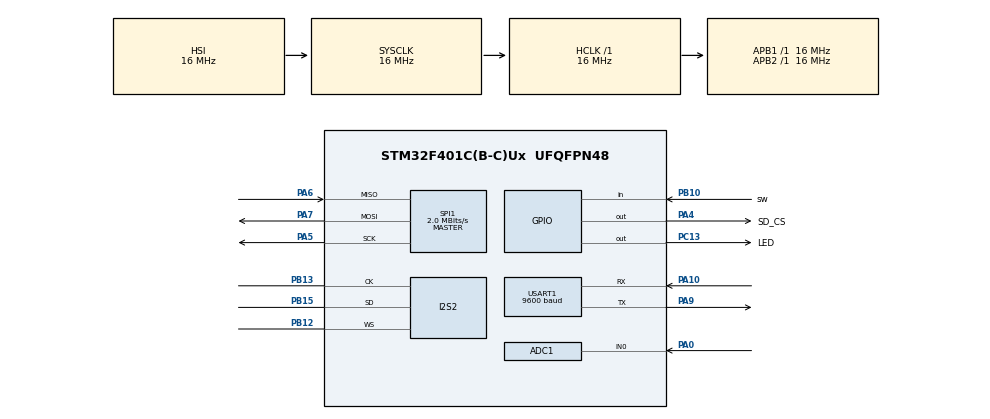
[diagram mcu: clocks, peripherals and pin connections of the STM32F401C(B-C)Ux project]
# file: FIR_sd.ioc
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ADC1.Channel-0\#ChannelRegularConversion=ADC_CHANNEL_0
ADC1.NbrOfConversionFlag=1
ADC1.Rank-0\#ChannelRegularConversion=1
ADC1.SamplingTime-0\#ChannelRegularConversion=ADC_SAMPLETIME_3CYCLES
ADC1.master=1
Dma.Request0=SPI2_TX
Dma.SPI2_TX.0.Direction=DMA_MEMORY_TO_PERIPH
Dma.SPI2_TX.0.FIFOMode=DMA_FIFOMODE_ENABLE
Dma.SPI2_TX.0.FIFOThreshold=DMA_FIFO_THRESHOLD_FULL
Dma.SPI2_TX.0.Instance=DMA1_Stream4
Dma.SPI2_TX.0.MemBurst=DMA_MBURST_SINGLE
Dma.SPI2_TX.0.MemDataAlignment=DMA_MDATAALIGN_BYTE
Dma.SPI2_TX.0.MemInc=DMA_MINC_ENABLE
Dma.SPI2_TX.0.Mode=DMA_CIRCULAR
Dma.SPI2_TX.0.PeriphBurst=DMA_PBURST_SINGLE
Dma.SPI2_TX.0.PeriphDataAlignment=DMA_PDATAALIGN_BYTE
Dma.SPI2_TX.0.PeriphInc=DMA_PINC_DISABLE
Dma.SPI2_TX.0.Priority=DMA_PRIORITY_LOW
FATFS._FS_TINY=1
FATFS._USE_LFN=1
I2S2.ErrorAudioFreq=0.0 %
I2S2.FullDuplexMode=I2S_FULLDUPLEXMODE_DISABLE
I2S2.Instance=SPI$Index
I2S2.RealAudioFreq=8.0 KHz
I2S2.VirtualMode=I2S_MODE_MASTER
Mcu.Family=STM32F4
Mcu.Name=STM32F401C(B-C)Ux
Mcu.Package=UFQFPN48
NVIC.DMA1_Stream4_IRQn=true\:0\:0\:false\:false\:true\:false\:true\:true
NVIC.PriorityGroup=NVIC_PRIORITYGROUP_4
NVIC.SPI2_IRQn=true\:0\:0\:false\:false\:true\:true\:true\:true
PA0-WKUP.Signal=ADCx_IN0
PA10.Mode=Asynchronous
PA10.Signal=USART1_RX
PA4.GPIO_Label=SD_CS
PA4.Signal=GPIO_Output
PA5.Mode=Full_Duplex_Master
PA5.Signal=SPI1_SCK
PA6.Mode=Full_Duplex_Master
PA6.Signal=SPI1_MISO
PA7.Mode=Full_Duplex_Master
PA7.Signal=SPI1_MOSI
PA9.Mode=Asynchronous
PA9.Signal=USART1_TX
PB10.GPIO_Label=sw
PB10.GPIO_PuPd=GPIO_PULLUP
PB10.Signal=GPIO_Input
PB12.Mode=Half_Duplex_Master
PB12.Signal=I2S2_WS
PB13.Mode=Half_Duplex_Master
PB13.Signal=I2S2_CK
PB15.Mode=Half_Duplex_Master
PB15.Signal=I2S2_SD
PC13-ANTI_TAMP.GPIO_Label=LED
PC13-ANTI_TAMP.Signal=GPIO_Output
ProjectManager.HeapSize=0x200
ProjectManager.StackSize=0x400
ProjectManager.TargetToolchain=STM32CubeIDE
RCC.AHBFreq_Value=16000000
RCC.APB1Freq_Value=16000000
RCC.APB2Freq_Value=16000000
RCC.CortexFreq_Value=16000000
RCC.HSE_VALUE=25000000
RCC.HSI_VALUE=16000000
RCC.LSE_VALUE=32768
RCC.SYSCLKFreq_VALUE=16000000
RCC.VCOOutputFreq_Value=192000000
SH.ADCx_IN0.0=ADC1_IN0,IN0
SPI1.BaudRatePrescaler=SPI_BAUDRATEPRESCALER_8
SPI1.CalculateBaudRate=2.0 MBits/s
SPI1.Direction=SPI_DIRECTION_2LINES
SPI1.Mode=SPI_MODE_MASTER
SPI1.VirtualType=VM_MASTER
STMicroelectronics.X-CUBE-ALGOBUILD.1.5.0.LibraryCcDSPOoLibraryJjDSPOoLibrary=true
USART1.BaudRate=9600
USART1.VirtualMode=VM_ASYNC
VP_FATFS_VS_Generic.Mode=User_defined
VP_STMicroelectronics.X-CUBE-ALGOBUILD_VS_DSPOoLibraryJjLibrary_1.5.0_1.5.0.Mode=DSPOoLibraryJjLibrary
board=custom

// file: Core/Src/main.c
/* USER CODE BEGIN Header */
/**
  ******************************************************************************
  * @file           : main.c
  * @brief          : Main program body
  ******************************************************************************
  * @attention
  *
  * Copyright (c) 2024 STMicroelectronics.
  * All rights reserved.
  *
  * This software is licensed under terms that can be found in the LICENSE file
  * in the root directory of this software component.
  * If no LICENSE file comes with this software, it is provided AS-IS.
  *
  ******************************************************************************
  */
/* USER CODE END Header */
#include "main.h"
#include "fatfs.h"

/* USER CODE BEGIN Includes */
#include "stdio.h"
#include "stdint.h"
#include "stdlib.h"
#include "string.h"

#include "adc.h"
#include "uart.h"
#include "pinout.h"
#include "fatfs_sd.h"
/* USER CODE END Includes */

ADC_HandleTypeDef hadc1;

I2S_HandleTypeDef hi2s2;
DMA_HandleTypeDef hdma_spi2_tx;

SPI_HandleTypeDef hspi1;

UART_HandleTypeDef huart1;

/* USER CODE BEGIN PV */
//variables de la memoria
FATFS memsd;
FATFS *pfs;
FIL archivo;
FRESULT fres;  // resultados de operaciones copn la memoria
uint32_t fre_clust;//
uint32_t totalSpace, freeSpace;
char SD_BUFFER[100];// SD_SD_BUFFER usado para la memoria
//char SD_BUFFER[_MAX_SS];// solo si se desea formatear;

char texto[100];

uint16_t  codigo,cont=0;
float temperatura;

// Primer ##

#include "arm_math.h"
#define NUM_TAPS 29 // Número de coeficientes del filtro (debe ser impar generalmente)
#define BLOCK_SIZE 512 // Tamaño de bloque a procesar por iteración

// Instancia y estado del filtro FIR
arm_fir_instance_q15 S;
q15_t firState[NUM_TAPS + BLOCK_SIZE - 1];
// Coeficientes exportados desde MATLAB / Python (formato Q15 / int16_t)
const q15_t firCoeffs[NUM_TAPS] = {
 -12, -45, 120, 350, 0, -890, //... // Taps escalados a 16-bit
};
void FIR_Init(void) {
    // Inicializa el filtro FIR en formato Q15 (Punto fijo de 16 bits)
    arm_fir_init_q15(&S, NUM_TAPS, (q15_t *)&firCoeffs[0],
    &firState[0], BLOCK_SIZE);
}

// Segundo ##

#define AUDIO_BUF_SIZE (BLOCK_SIZE * 2) // Búfer Ping-Pong (2x tamaño de bloque)

q15_t txAudioBuffer[AUDIO_BUF_SIZE]; // Búfer de salida hacia el DMA
q15_t rxFileBuffer[BLOCK_SIZE]; // Búfer temporal de lectura del archivo
q15_t filteredBuffer[BLOCK_SIZE]; // Búfer donde guardamos el audio filtrado
uint32_t txAudioBuffer_float[AUDIO_BUF_SIZE]; // Búfer de salida hacia el DMA

volatile uint8_t bufferHalfToUpdate = 0; // 1 = Primera mitad, 2 = Segunda mitad
volatile uint8_t readyToProcess = 0;

void Start_Audio_Out(void) {
    // Inicia transmisión I2S mediante DMA en modo circular
    //HAL_I2S_Transmit_DMA(&hi2s2, (uint16_t*)txAudioBuffer, AUDIO_BUF_SIZE);
	HAL_DAC_Start_DMA(&hdac, DAC_CHANNEL_1, (uint32_t*)txAudioBuffer_float, AUDIO_BUF_SIZE, DAC_ALIGN_12B_R);
}

void Convertir_y_Reproducir()
{

}

// Interrupción cuando DMA envía la PRIMERA mitad (Ping)
void HAL_I2S_TxHalfCpltCallback(I2S_HandleTypeDef *hi2s) {
    bufferHalfToUpdate = 1;
    readyToProcess = 1;
}
// Interrupción cuando DMA envía la SEGUNDA mitad (Pong)
void HAL_I2S_TxCpltCallback(I2S_HandleTypeDef *hi2s) {
    bufferHalfToUpdate = 2;
    readyToProcess = 1;
}

// Tercer ##

#include "ff.h" // Biblioteca FatFs para lectura de SD

FIL audioFile;
UINT bytesRead;

void Audio_Process_Loop(void) {
    FIR_Init();
    f_open(&audioFile, "audio.raw", FA_READ);
    // Saltar encabezado WAV si es necesario (ej. 44 bytes)
    f_lseek(&audioFile, 44);
    Start_Audio_Out();

    while (1) {
        if (readyToProcess) {
            readyToProcess = 0;
            // 1. Leer el siguiente bloque del archivo WAV/RAW
            f_read(&audioFile, rxFileBuffer, sizeof(rxFileBuffer),
                    &bytesRead);
            //if (bytesRead < sizeof(rxFileBuffer)) {
            //    // Fin de archivo o reinicio
            //    f_lseek(&audioFile, 44);
            //    break;
            //}
            // 2. Ejecutar el filtrado FIR optimizado con CMSIS-DSP
            arm_fir_q15(&S, rxFileBuffer, filteredBuffer, bytesRead/sizeof(q15));

            // 3. Copiar el bloque filtrado al área del búfer DMA correspondiente
            if (bufferHalfToUpdate == 1) {
                // DMA está leyendo la 2da mitad -> Escribir en la 1ra mitad (Ping)
                memcpy(&txAudioBuffer[0], filteredBuffer, bytesRead);
                Convertir_y_Reproducir();
            }
            else if (bufferHalfToUpdate == 2) {
                // DMA está leyendo la 1ra mitad -> Escribir en la 2da mitad (Pong)
                memcpy(&txAudioBuffer[BLOCK_SIZE], filteredBuffer,
                		bytesRead);
            }
            //test1
            if (bytesRead < sizeof(rxFileBuffer)) {
            	// Fin de archivo
            	break;
            }
            //
        }
    }
}

// Cuarto pre-main() ##

/* USER CODE END PV */

void SystemClock_Config(void);
static void MX_GPIO_Init(void);
static void MX_DMA_Init(void);
static void MX_ADC1_Init(void);
static void MX_SPI1_Init(void);
static void MX_USART1_UART_Init(void);
static void MX_I2S2_Init(void);

/* USER CODE BEGIN 0 */
void SD_PRUEBA(void)
{
	//retardo inicializacion

	//formatea la memoria montada en FAT32
	//if(f_mkfs("", FM_FAT, 0, SD_BUFFER, _MAX_SS) != FR_OK)

	//if(f_mkfs("", FM_FAT32, 0, SD_BUFFER, _MAX_SS) != FR_OK)
	// uartx_write_text(&huart1, "NO FORMATEAD0\r\n");

	//Abre un archivo sino lo crea
	if(f_open(&archivo, "ARZ.txt", FA_OPEN_ALWAYS | FA_READ | FA_WRITE) != FR_OK)
		uartx_write_text(&huart1, "Archivo no creado\r\n");
	else
		uartx_write_text(&huart1, "Archivo creado\r\n");

	//calcula espacio libre en la memoria
	if(f_getfree("", &fre_clust, &pfs) != FR_OK);

	totalSpace = (uint32_t)((pfs->n_fatent - 2) * pfs->csize * 0.5);
	freeSpace = (uint32_t)(fre_clust * pfs->csize * 0.5);

	//mira si si es menor de 1
	if(freeSpace < 1)
		uartx_write_text(&huart1, "Memoria llena\r\n");
	else
		uartx_write_text(&huart1, "Espacio Libre en Memoria!\r\n");

	//escribe algo en la memoria
	f_puts("PROBANDO\r\n", &archivo);
	f_puts("FUNCIONANDO\r\n", &archivo);
	f_puts("mas datos\r\n", &archivo);

	//cierra archivo abierto
	if(f_close(&archivo) != FR_OK)
		uartx_write_text(&huart1, "DATOS  GUARDADOS");

	//abre  un archivo para lectura
	if(f_open(&archivo, "ARZ.txt", FA_READ) != FR_OK);

	//LEE LINEA POR LINEA
	uartx_write_text(&huart1, "leido=");
	while(f_gets(SD_BUFFER, sizeof(SD_BUFFER), &archivo)){
		sprintf(texto,"%s", SD_BUFFER);
		uartx_write_text(&huart1, texto);
		uartx_write_text(&huart1, "\r\n");
	}

	//cierra el archivo
	if(f_close(&archivo) != FR_OK);

	//si es necesario desmonta la memoria
	//		if(f_mount(NULL, "", 1) != FR_OK);

}
/* USER CODE END 0 */

int main(void)
{

  /* MCU Configuration--------------------------------------------------------*/

  /* Reset of all peripherals, Initializes the Flash interface and the Systick. */
  HAL_Init();

  /* Configure the system clock */
  SystemClock_Config();

  /* Initialize all configured peripherals */
  MX_GPIO_Init();
  MX_DMA_Init();
  MX_ADC1_Init();
  MX_SPI1_Init();
  MX_USART1_UART_Init();
  MX_FATFS_Init();
  MX_I2S2_Init();
  /* USER CODE BEGIN 2 */

	HAL_Delay(500);

	//detecta la memoria
	if(f_mount(&memsd, "", 1) == FR_OK)
		uartx_write_text(&huart1, "memoria encontrada\r\n");
	else
		uartx_write_text(&huart1, "memoria no encontrada\r\n");

   SD_PRUEBA();

   //Abre un archivo existente para agregar datos
   if(f_open(&archivo, "suscribete.txt",FA_OPEN_APPEND | FA_READ | FA_WRITE) != FR_OK)
	   HAL_Delay(1);

	uartx_write_text(&huart1, "\r\nEngancha a SUSCRIBIRSE\r\n");
   //escribe algo en la memoria
   f_puts("SUSCRIBETE\r\n", &archivo);
   f_puts("AL MEJOR\r\n", &archivo);
   f_puts("CANAL\r\n", &archivo);
   f_puts("DE EMBEBIDOS\r\n", &archivo);

   //cierra archivo abierto
   f_close(&archivo);

   //  crea el nuevo archivo para almacenar  los dat[s
   f_open(&archivo, "Data.txt", FA_CREATE_ALWAYS | FA_READ | FA_WRITE);
   f_close(&archivo);

  /* USER CODE END 2 */

  /* Infinite loop */
  /* USER CODE BEGIN WHILE */
  while (1)
  {
	  PIN_BLINK(LED);
	  codigo=ADC_Read();
	  temperatura=codigo*3.3*100.0/4095.0;
	  sprintf(texto,"%u\t%.1f\r\n",cont,temperatura);

	  Audio_Process_Loop();		//play music

	  cont++;
	  if(PIN_READ(sw)==1){
		  //Abre un archivo sino lo crea
		  f_open(&archivo, "Data.txt",FA_OPEN_APPEND | FA_READ | FA_WRITE) ;
		  HAL_Delay(1);
		  //escribe algo en la memoria

		  f_puts(texto, &archivo);

		  //cierra archivo abierto
		  f_close(&archivo);
	  }else {
		  //desmonta la memoria
		  f_mount(NULL, "", 1);
		  uartx_write_text(&huart1, "puede sacar la memoria");
		  PIN_OFF(LED);
		  HAL_Delay(3000);
	  }

	  HAL_Delay(200);

    /* USER CODE END WHILE */

  }
}

void SystemClock_Config(void)
{
  RCC_OscInitTypeDef RCC_OscInitStruct = {0};
  RCC_ClkInitTypeDef RCC_ClkInitStruct = {0};

  /** Macro to configure the PLL multiplication factor
  */
  __HAL_RCC_PLL_PLLM_CONFIG(16);

  /** Macro to configure the PLL clock source
  */
  __HAL_RCC_PLL_PLLSOURCE_CONFIG(RCC_PLLSOURCE_HSI);

  /** Configure the main internal regulator output voltage
  */
  __HAL_RCC_PWR_CLK_ENABLE();
  __HAL_PWR_VOLTAGESCALING_CONFIG(PWR_REGULATOR_VOLTAGE_SCALE2);

  /** Initializes the RCC Oscillators according to the specified parameters
  * in the RCC_OscInitTypeDef structure.
  */
  RCC_OscInitStruct.OscillatorType = RCC_OSCILLATORTYPE_HSI;
  RCC_OscInitStruct.HSIState = RCC_HSI_ON;
  RCC_OscInitStruct.HSICalibrationValue = RCC_HSICALIBRATION_DEFAULT;
  RCC_OscInitStruct.PLL.PLLState = RCC_PLL_NONE;
  RCC_OscInitStruct.PLL.PLLSource = RCC_PLLSOURCE_HSI;
  if (HAL_RCC_OscConfig(&RCC_OscInitStruct) != HAL_OK)
  {
    Error_Handler();
  }

  /** Initializes the CPU, AHB and APB buses clocks
  */
  RCC_ClkInitStruct.ClockType = RCC_CLOCKTYPE_HCLK|RCC_CLOCKTYPE_SYSCLK
                              |RCC_CLOCKTYPE_PCLK1|RCC_CLOCKTYPE_PCLK2;
  RCC_ClkInitStruct.SYSCLKSource = RCC_SYSCLKSOURCE_HSI;
  RCC_ClkInitStruct.AHBCLKDivider = RCC_SYSCLK_DIV1;
  RCC_ClkInitStruct.APB1CLKDivider = RCC_HCLK_DIV1;
  RCC_ClkInitStruct.APB2CLKDivider = RCC_HCLK_DIV1;

  if (HAL_RCC_ClockConfig(&RCC_ClkInitStruct, FLASH_LATENCY_0) != HAL_OK)
  {
    Error_Handler();
  }
}

static void MX_ADC1_Init(void)
{

  ADC_ChannelConfTypeDef sConfig = {0};

  /** Configure the global features of the ADC (Clock, Resolution, Data Alignment and number of conversion)
  */
  hadc1.Instance = ADC1;
  hadc1.Init.ClockPrescaler = ADC_CLOCK_SYNC_PCLK_DIV2;
  hadc1.Init.Resolution = ADC_RESOLUTION_12B;
  hadc1.Init.ScanConvMode = DISABLE;
  hadc1.Init.ContinuousConvMode = DISABLE;
  hadc1.Init.DiscontinuousConvMode = DISABLE;
  hadc1.Init.ExternalTrigConvEdge = ADC_EXTERNALTRIGCONVEDGE_NONE;
  hadc1.Init.ExternalTrigConv = ADC_SOFTWARE_START;
  hadc1.Init.DataAlign = ADC_DATAALIGN_RIGHT;
  hadc1.Init.NbrOfConversion = 1;
  hadc1.Init.DMAContinuousRequests = DISABLE;
  hadc1.Init.EOCSelection = ADC_EOC_SINGLE_CONV;
  if (HAL_ADC_Init(&hadc1) != HAL_OK)
  {
    Error_Handler();
  }

  /** Configure for the selected ADC regular channel its corresponding rank in the sequencer and its sample time.
  */
  sConfig.Channel = ADC_CHANNEL_0;
  sConfig.Rank = 1;
  sConfig.SamplingTime = ADC_SAMPLETIME_3CYCLES;
  if (HAL_ADC_ConfigChannel(&hadc1, &sConfig) != HAL_OK)
  {
    Error_Handler();
  }

}

static void MX_I2S2_Init(void)
{

  hi2s2.Instance = SPI2;
  hi2s2.Init.Mode = I2S_MODE_MASTER_TX;
  hi2s2.Init.Standard = I2S_STANDARD_PHILIPS;
  hi2s2.Init.DataFormat = I2S_DATAFORMAT_16B;
  hi2s2.Init.MCLKOutput = I2S_MCLKOUTPUT_DISABLE;
  hi2s2.Init.AudioFreq = I2S_AUDIOFREQ_8K;
  hi2s2.Init.CPOL = I2S_CPOL_LOW;
  hi2s2.Init.ClockSource = I2S_CLOCK_PLL;
  hi2s2.Init.FullDuplexMode = I2S_FULLDUPLEXMODE_DISABLE;
  if (HAL_I2S_Init(&hi2s2) != HAL_OK)
  {
    Error_Handler();
  }

}

static void MX_SPI1_Init(void)
{

  /* SPI1 parameter configuration*/
  hspi1.Instance = SPI1;
  hspi1.Init.Mode = SPI_MODE_MASTER;
  hspi1.Init.Direction = SPI_DIRECTION_2LINES;
  hspi1.Init.DataSize = SPI_DATASIZE_8BIT;
  hspi1.Init.CLKPolarity = SPI_POLARITY_LOW;
  hspi1.Init.CLKPhase = SPI_PHASE_1EDGE;
  hspi1.Init.NSS = SPI_NSS_SOFT;
  hspi1.Init.BaudRatePrescaler = SPI_BAUDRATEPRESCALER_8;
  hspi1.Init.FirstBit = SPI_FIRSTBIT_MSB;
  hspi1.Init.TIMode = SPI_TIMODE_DISABLE;
  hspi1.Init.CRCCalculation = SPI_CRCCALCULATION_DISABLE;
  hspi1.Init.CRCPolynomial = 10;
  if (HAL_SPI_Init(&hspi1) != HAL_OK)
  {
    Error_Handler();
  }

}

static void MX_USART1_UART_Init(void)
{

  huart1.Instance = USART1;
  huart1.Init.BaudRate = 9600;
  huart1.Init.WordLength = UART_WORDLENGTH_8B;
  huart1.Init.StopBits = UART_STOPBITS_1;
  huart1.Init.Parity = UART_PARITY_NONE;
  huart1.Init.Mode = UART_MODE_TX_RX;
  huart1.Init.HwFlowCtl = UART_HWCONTROL_NONE;
  huart1.Init.OverSampling = UART_OVERSAMPLING_16;
  if (HAL_UART_Init(&huart1) != HAL_OK)
  {
    Error_Handler();
  }

}

static void MX_DMA_Init(void)
{

  /* DMA controller clock enable */
  __HAL_RCC_DMA1_CLK_ENABLE();

  /* DMA interrupt init */
  /* DMA1_Stream4_IRQn interrupt configuration */
  HAL_NVIC_SetPriority(DMA1_Stream4_IRQn, 0, 0);
  HAL_NVIC_EnableIRQ(DMA1_Stream4_IRQn);

}

static void MX_GPIO_Init(void)
{
  GPIO_InitTypeDef GPIO_InitStruct = {0};

  /* GPIO Ports Clock Enable */
  __HAL_RCC_GPIOC_CLK_ENABLE();
  __HAL_RCC_GPIOA_CLK_ENABLE();
  __HAL_RCC_GPIOB_CLK_ENABLE();

  /*Configure GPIO pin Output Level */
  HAL_GPIO_WritePin(LED_GPIO_Port, LED_Pin, GPIO_PIN_RESET);

  /*Configure GPIO pin Output Level */
  HAL_GPIO_WritePin(SD_CS_GPIO_Port, SD_CS_Pin, GPIO_PIN_RESET);

  /*Configure GPIO pin : LED_Pin */
  GPIO_InitStruct.Pin = LED_Pin;
  GPIO_InitStruct.Mode = GPIO_MODE_OUTPUT_PP;
  GPIO_InitStruct.Pull = GPIO_NOPULL;
  GPIO_InitStruct.Speed = GPIO_SPEED_FREQ_LOW;
  HAL_GPIO_Init(LED_GPIO_Port, &GPIO_InitStruct);

  /*Configure GPIO pin : SD_CS_Pin */
  GPIO_InitStruct.Pin = SD_CS_Pin;
  GPIO_InitStruct.Mode = GPIO_MODE_OUTPUT_PP;
  GPIO_InitStruct.Pull = GPIO_NOPULL;
  GPIO_InitStruct.Speed = GPIO_SPEED_FREQ_LOW;
  HAL_GPIO_Init(SD_CS_GPIO_Port, &GPIO_InitStruct);

  /*Configure GPIO pin : sw_Pin */
  GPIO_InitStruct.Pin = sw_Pin;
  GPIO_InitStruct.Mode = GPIO_MODE_INPUT;
  GPIO_InitStruct.Pull = GPIO_PULLUP;
  HAL_GPIO_Init(sw_GPIO_Port, &GPIO_InitStruct);

}

void Error_Handler(void)
{
  __disable_irq();
  while (1)
  {
  }
}
